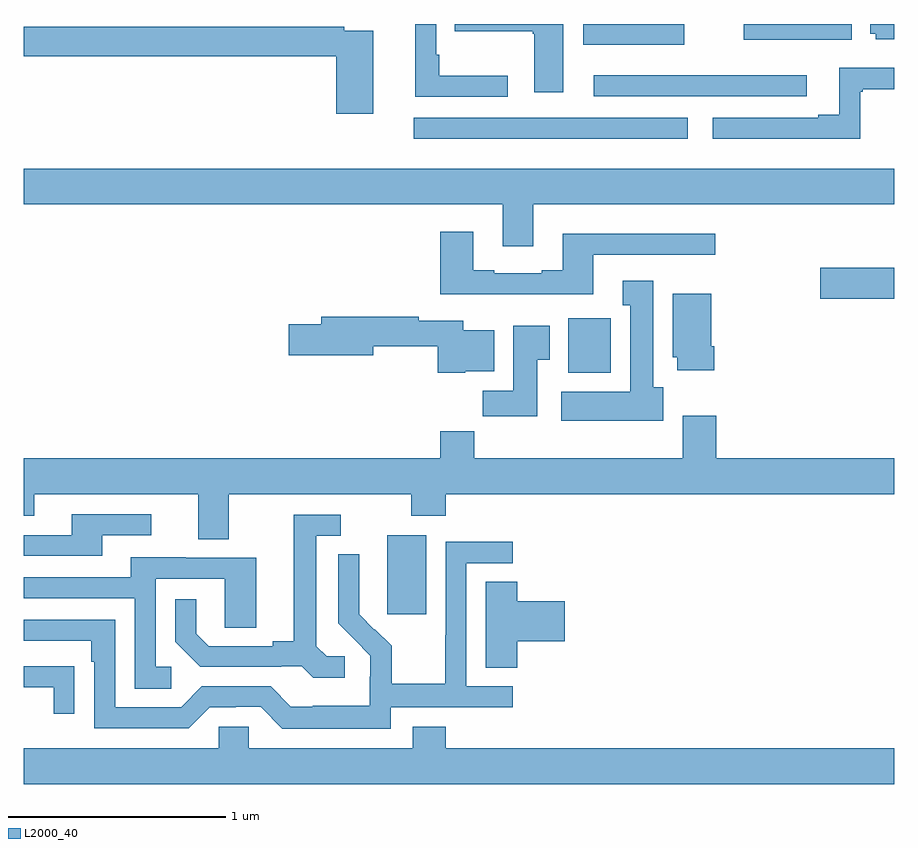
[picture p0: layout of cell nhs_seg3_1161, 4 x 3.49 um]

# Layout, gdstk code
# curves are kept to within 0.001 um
import gdstk
lib = gdstk.Library(unit=1e-6, precision=1e-09)
def R(c, l, rs):  # rectangles x0, y0, x1, y1
    for r in rs: c.add(gdstk.rectangle(r[:2], r[2:], *l))
def P(c, l, *ps):  # polygons
    for p in ps: c.add(gdstk.Polygon(p, *l))
L2000_40 = (2000, 40)

nhs_seg3_1161 = lib.new_cell('nhs_seg3_1161')
R(nhs_seg3_1161, L2000_40, [(172.67,709.689,172.849,710.05), (173.501,710.798,173.697,711.049), (174.66,711.137,175,711.279), (172.791,711.872,174.052,711.969), (173.619,712.068,174.598,712.165), (173.57,712.304,174.034,712.4), (174.308,712.328,174.805,712.4)])
P(nhs_seg3_1161, L2000_40, [(175,712.4),(174.89,712.4),(174.89,712.356),(174.915,712.356),(174.915,712.331),(175,712.331)],
  [(173.224,712.163),(172.909,712.163),(172.909,712.258),(172.896,712.258),(172.896,712.4),(172.799,712.4),(172.799,712.065),(173.224,712.065)],
  [(173.479,712.4),(172.981,712.4),(172.981,712.367),(173.338,712.367),(173.338,712.356),(173.345,712.356),(173.345,712.086),(173.479,712.086)],
  [(172.606,712.368),(172.472,712.368),(172.472,712.388),(171,712.388),(171,712.252),(172.436,712.252),(172.436,711.987),(172.606,711.987)],
  [(174.844,712.089),(174.856,712.089),(174.856,712.1),(175,712.1),(175,712.198),(174.746,712.198),(174.746,711.982),(174.65,711.982),(174.65,711.969),(174.165,711.969),(174.165,711.872),(174.844,711.872)],
  [(173.341,711.572),(175,711.572),(175,711.736),(171,711.736),(171,711.572),(173.201,711.572),(173.201,711.378),(173.341,711.378)],
  [(173.617,711.339),(174.178,711.339),(174.178,711.436),(173.477,711.436),(173.477,711.268),(173.381,711.268),(173.381,711.255),(173.161,711.255),(173.161,711.268),(173.065,711.268),(173.065,711.445),(172.913,711.445),(172.913,711.158),(173.617,711.158)],
  [(173.938,710.73),(173.893,710.73),(173.893,711.22),(173.753,711.22),(173.753,711.107),(173.786,711.107),(173.786,710.71),(173.469,710.71),(173.469,710.576),(173.938,710.576)],
  [(174.173,710.92),(174.16,710.92),(174.16,711.16),(173.981,711.16),(173.981,710.868),(174.002,710.868),(174.002,710.808),(174.173,710.808)],
  [(173.028,710.804),(173.161,710.804),(173.161,710.992),(173.02,710.992),(173.02,711.036),(172.814,711.036),(172.814,711.056),(172.367,711.056),(172.367,711.02),(172.218,711.02),(172.218,710.878),(172.606,710.878),(172.606,710.92),(172.903,710.92),(172.903,710.798),(173.028,710.798)],
  [(173.359,710.857),(173.416,710.857),(173.416,711.013),(173.249,711.013),(173.249,710.716),(173.11,710.716),(173.11,710.598),(173.359,710.598)],
  [(171,710.141),(171.049,710.141),(171.049,710.24),(171.803,710.24),(171.803,710.032),(171.943,710.032),(171.943,710.24),(172.78,710.24),(172.78,710.141),(172.94,710.141),(172.94,710.24),(175,710.24),(175,710.404),(174.182,710.404),(174.182,710.599),(174.029,710.599),(174.029,710.404),(173.069,710.404),(173.069,710.528),(172.913,710.528),(172.913,710.404),(171,710.404)],
  [(171.361,710.052),(171.586,710.052),(171.586,710.148),(171.221,710.148),(171.221,710.052),(171,710.052),(171,709.956),(171.361,709.956)],
  [(172.474,709.494),(172.392,709.494),(172.345,709.541),(172.345,710.049),(172.456,710.049),(172.456,710.145),(172.241,710.145),(172.241,709.565),(172.145,709.565),(172.145,709.542),(171.85,709.542),(171.793,709.599),(171.793,709.756),(171.696,709.756),(171.696,709.562),(171.812,709.446),(172.184,709.446),(172.184,709.449),(172.278,709.449),(172.33,709.397),(172.474,709.397)],
  [(172.686,709.26),(173.248,709.26),(173.248,709.356),(173.034,709.356),(173.034,709.923),(173.248,709.923),(173.248,710.022),(172.938,710.022),(172.938,709.592),(172.936,709.592),(172.936,709.369),(172.691,709.369),(172.691,709.543),(172.614,709.62),(172.611,709.617),(172.541,709.688),(172.542,709.964),(172.446,709.964),(172.446,709.646),(172.592,709.498),(172.592,709.401),(172.59,709.401),(172.59,709.267),(172.327,709.267),(172.327,709.263),(172.227,709.263),(172.134,709.356),(171.819,709.356),(171.723,709.26),(171.42,709.26),(171.42,709.662),(171,709.662),(171,709.566),(171.311,709.566),(171.311,709.469),(171.324,709.469),(171.324,709.164),(171.759,709.164),(171.855,709.26),(171.974,709.26),(171.974,709.263),(172.089,709.263),(172.189,709.163),(172.686,709.163)],
  [(171.679,709.446),(171.606,709.446),(171.606,709.851),(171.924,709.851),(171.924,709.627),(172.069,709.627),(172.069,709.947),(171.745,709.947),(171.745,709.951),(171.491,709.951),(171.491,709.857),(171,709.857),(171,709.761),(171.51,709.761),(171.51,709.345),(171.679,709.345)],
  [(173.267,709.565),(173.485,709.565),(173.485,709.748),(173.267,709.748),(173.267,709.838),(173.123,709.838),(173.123,709.441),(173.267,709.441)],
  [(171.233,709.448),(171.131,709.448),(171.131,709.449),(171,709.449),(171,709.353),(171.137,709.353),(171.137,709.23),(171.233,709.23)],
  [(175,709.072),(172.94,709.072),(172.94,709.171),(172.787,709.171),(172.787,709.072),(172.035,709.072),(172.035,709.17),(171.897,709.17),(171.897,709.072),(171,709.072),(171,708.908),(175,708.908)])

lib.write_gds('nhs_seg3_1161.gds')
